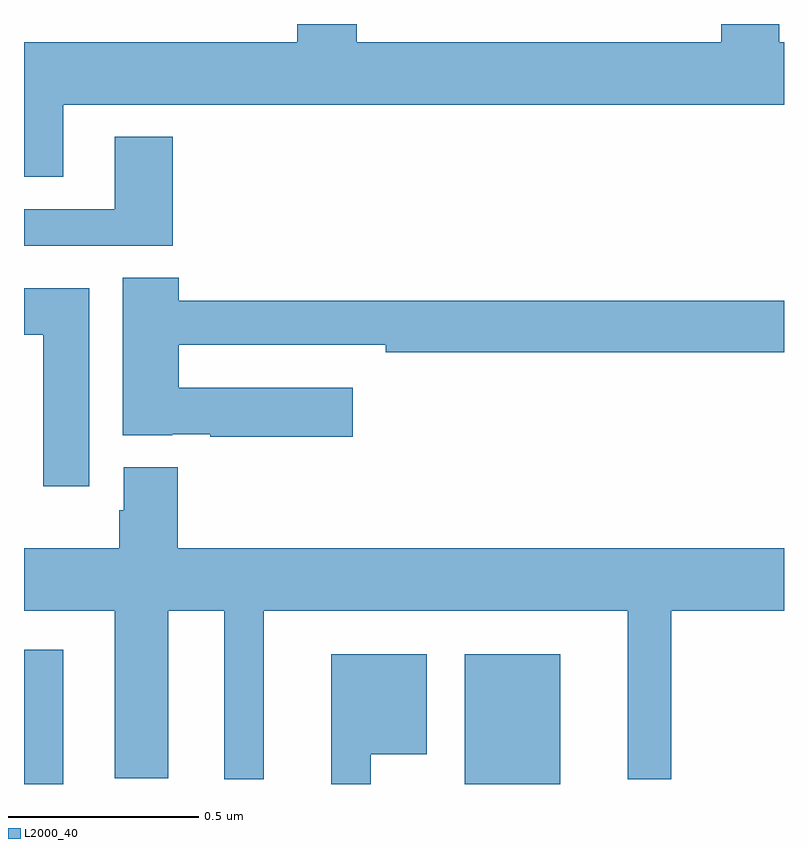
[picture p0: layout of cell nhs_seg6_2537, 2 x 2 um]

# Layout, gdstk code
import gdstk
lib = gdstk.Library(unit=1e-6, precision=1e-09)
def R(c, l, rs):  # rectangles x0, y0, x1, y1
    for r in rs: c.add(gdstk.rectangle(r[:2], r[2:], *l))
def P(c, l, *ps):  # polygons
    for p in ps: c.add(gdstk.Polygon(p, *l))
L2000_40 = (2000, 40)

nhs_seg6_2537 = lib.new_cell('nhs_seg6_2537')
R(nhs_seg6_2537, L2000_40, [(144,993.5,144.103,993.853), (145.16,993.5,145.411,993.841)])
P(nhs_seg6_2537, L2000_40, [(144.103,995.288),(146,995.288),(146,995.452),(145.988,995.452),(145.988,995.5),(145.835,995.5),(145.835,995.452),(144.875,995.452),(144.875,995.5),(144.719,995.5),(144.719,995.452),(144,995.452),(144,995.098),(144.103,995.098)],
  [(144.392,995.203),(144.239,995.203),(144.239,995.013),(144,995.013),(144,994.917),(144.392,994.917)],
  [(144.865,994.543),(144.407,994.543),(144.407,994.656),(144.952,994.656),(144.952,994.636),(146,994.636),(146,994.772),(144.407,994.772),(144.407,994.832),(144.26,994.832),(144.26,994.418),(144.39,994.418),(144.39,994.421),(144.49,994.421),(144.49,994.414),(144.865,994.414)],
  [(144.172,994.804),(144,994.804),(144,994.682),(144.05,994.682),(144.05,994.284),(144.172,994.284)],
  [(144.631,993.956),(145.589,993.956),(145.589,993.512),(145.703,993.512),(145.703,993.956),(146,993.956),(146,994.12),(144.404,994.12),(144.404,994.333),(144.263,994.333),(144.263,994.221),(144.251,994.221),(144.251,994.12),(144,994.12),(144,993.956),(144.239,993.956),(144.239,993.515),(144.379,993.515),(144.379,993.956),(144.527,993.956),(144.527,993.512),(144.631,993.512)],
  [(144.913,993.578),(145.06,993.578),(145.06,993.841),(144.809,993.841),(144.809,993.5),(144.913,993.5)])

lib.write_gds('nhs_seg6_2537.gds')
